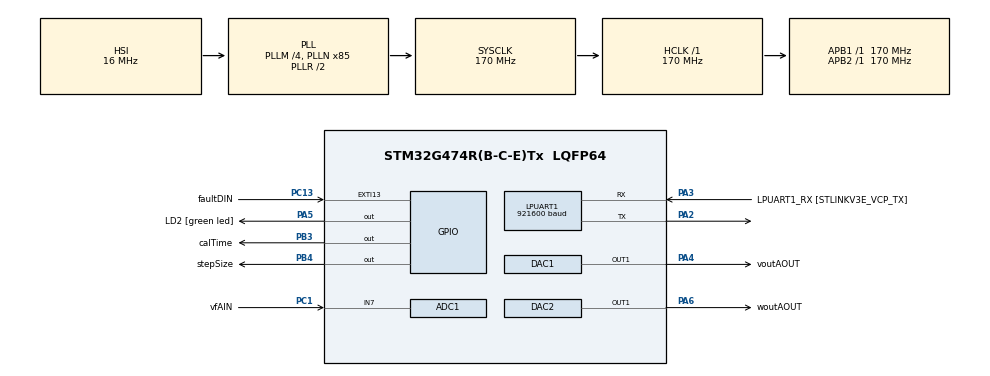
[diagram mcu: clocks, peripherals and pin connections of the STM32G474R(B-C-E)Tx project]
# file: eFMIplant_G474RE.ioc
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ADC1.Channel-1\#ChannelRegularConversion=ADC_CHANNEL_7
ADC1.NbrOfConversionFlag=1
ADC1.OffsetNumber-1\#ChannelRegularConversion=ADC_OFFSET_NONE
ADC1.Rank-1\#ChannelRegularConversion=1
ADC1.SamplingTime-1\#ChannelRegularConversion=ADC_SAMPLETIME_2CYCLES_5
ADC1.master=1
LPUART1.BaudRate=921600
Mcu.Family=STM32G4
Mcu.Name=STM32G474R(B-C-E)Tx
Mcu.Package=LQFP64
NVIC.EXTI15_10_IRQn=true\:0\:0\:false\:false\:true\:true\:true\:true
NVIC.PriorityGroup=NVIC_PRIORITYGROUP_4
NVIC.TIM1_UP_TIM16_IRQn=true\:0\:0\:false\:false\:true\:true\:true\:true
PA13.GPIO_Label=T_SWDIO
PA13.Mode=Serial_Wire
PA13.Signal=SYS_JTMS-SWDIO
PA14.GPIO_Label=T_SWCLK
PA14.Mode=Serial_Wire
PA14.Signal=SYS_JTCK-SWCLK
PA2.Mode=Asynchronous
PA2.Signal=LPUART1_TX
PA3.GPIO_Label=LPUART1_RX [STLINKV3E_VCP_TX]
PA3.Mode=Asynchronous
PA3.Signal=LPUART1_RX
PA4.GPIO_Label=voutAOUT
PA4.Signal=COMP_DAC11_group
PA5.GPIO_Label=LD2 [green led]
PA5.Signal=GPIO_Output
PA6.GPIO_Label=woutAOUT
PA6.Signal=COMP_DAC21_group
PB3.GPIO_Label=calTime
PB3.GPIO_Speed=GPIO_SPEED_FREQ_VERY_HIGH
PB3.Signal=GPIO_Output
PB4.GPIO_Label=stepSize
PB4.GPIO_Speed=GPIO_SPEED_FREQ_VERY_HIGH
PB4.Signal=GPIO_Output
PC1.GPIO_Label=vfAIN
PC1.Mode=IN7-Single-Ended
PC1.Signal=ADC1_IN7
PC13.GPIO_Label=faultDIN
PC13.Signal=GPXTI13
PC14-OSC32_IN.GPIO_Label=RCC_OSC32_IN
PC14-OSC32_IN.Mode=LSE-External-Oscillator
PC14-OSC32_IN.Signal=RCC_OSC32_IN
PC15-OSC32_OUT.GPIO_Label=RCC_OSC32_OUT
PC15-OSC32_OUT.Mode=LSE-External-Oscillator
PC15-OSC32_OUT.Signal=RCC_OSC32_OUT
PF0-OSC_IN.GPIO_Label=RCC_OSC_IN
PF0-OSC_IN.Mode=HSE-External-Oscillator
PF0-OSC_IN.Signal=RCC_OSC_IN
PF1-OSC_OUT.GPIO_Label=RCC_OSC_OUT
PF1-OSC_OUT.Mode=HSE-External-Oscillator
PF1-OSC_OUT.Signal=RCC_OSC_OUT
ProjectManager.HeapSize=0x200
ProjectManager.StackSize=0x400
ProjectManager.TargetToolchain=STM32CubeIDE
RCC.ADC12Freq_Value=170000000
RCC.ADC345Freq_Value=170000000
RCC.AHBFreq_Value=170000000
RCC.APB1Freq_Value=170000000
RCC.APB1TimFreq_Value=170000000
RCC.APB2Freq_Value=170000000
RCC.APB2TimFreq_Value=170000000
RCC.CortexFreq_Value=170000000
RCC.EXTERNAL_CLOCK_VALUE=12288000
RCC.HCLKFreq_Value=170000000
RCC.HSE_VALUE=24000000
RCC.HSI48_VALUE=48000000
RCC.HSI_VALUE=16000000
RCC.PLLM=RCC_PLLM_DIV4
RCC.PLLN=85
RCC.RTCClockSelection=RCC_RTCCLKSOURCE_LSE
RCC.SYSCLKFreq_VALUE=170000000
RCC.SYSCLKSource=RCC_SYSCLKSOURCE_PLLCLK
RCC.USBFreq_Value=170000000
RCC.VCOOutputFreq_Value=340000000
SH.COMP_DAC11_group.0=DAC1_OUT1,DAC_OUT1
SH.COMP_DAC21_group.0=DAC2_OUT1,DAC_OUT1
TIM1.AutoReloadPreload=TIM_AUTORELOAD_PRELOAD_ENABLE
TIM1.Channel-Output\ Compare1\ No\ Output=TIM_CHANNEL_1
TIM1.CounterMode=TIM_COUNTERMODE_DOWN
TIM1.PeriodNoDither=999
TIM1.Prescaler=33
VP_SYS_VS_DBSignals.Mode=DisableDeadBatterySignals
VP_TIM1_VS_ClockSourceINT.Mode=Internal
VP_TIM1_VS_no_output1.Mode=Output Compare1 No Output
board=NUCLEO-G474RE

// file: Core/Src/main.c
/* USER CODE BEGIN Header */
/**
  ******************************************************************************
  * @file           : main.c
  * @brief          : Main program body
  ******************************************************************************
  * @attention
  *
  * Copyright (c) 2025 STMicroelectronics.
  * All rights reserved.
  *
  * This software is licensed under terms that can be found in the LICENSE file
  * in the root directory of this software component.
  * If no LICENSE file comes with this software, it is provided AS-IS.
  *
  ******************************************************************************
  */
/* USER CODE END Header */
#include "main.h"

/* USER CODE BEGIN Includes */
#include "efmi_app.h"
#include <string.h>
#include <sys/unistd.h>     // for _write
#include <stdio.h>
/* USER CODE END Includes */

/* USER CODE BEGIN PM */
#define PRINT_INT 50
/* USER CODE END PM */

ADC_HandleTypeDef hadc1;

DAC_HandleTypeDef hdac1;
DAC_HandleTypeDef hdac2;

UART_HandleTypeDef hlpuart1;

TIM_HandleTypeDef htim1;

/* USER CODE BEGIN PV */
double vf0, w, v, p, q;
double vf_in  = 1.0;

int16_t print_interval = PRINT_INT;
/* USER CODE END PV */

void SystemClock_Config(void);
static void MX_GPIO_Init(void);
static void MX_TIM1_Init(void);
static void MX_LPUART1_UART_Init(void);
static void MX_DAC1_Init(void);
static void MX_DAC2_Init(void);
static void MX_ADC1_Init(void);
/* USER CODE BEGIN PFP */
static uint16_t ADC2_ReadOnce(void);
static float ADC_CodeToVolts(uint16_t code, float vdda);
void uart_print(const char *s);

/* USER CODE END PFP */

int main(void)
{

  /* MCU Configuration--------------------------------------------------------*/

  /* Reset of all peripherals, Initializes the Flash interface and the Systick. */
  HAL_Init();

  /* Configure the system clock */
  SystemClock_Config();

  /* Initialize all configured peripherals */
  MX_GPIO_Init();
  MX_TIM1_Init();
  MX_LPUART1_UART_Init();
  MX_DAC1_Init();
  MX_DAC2_Init();
  MX_ADC1_Init();
  /* USER CODE BEGIN 2 */
  HAL_DAC_Start(&hdac1, DAC_CHANNEL_1);
  HAL_DAC_Start(&hdac2, DAC_CHANNEL_1);
  HAL_TIM_Base_Start_IT(&htim1);
  __enable_irq();
  EFMI_App_Init();

  /* USER CODE END 2 */

  /* Infinite loop */
  while (1)
  {

  }
}

void SystemClock_Config(void)
{
  RCC_OscInitTypeDef RCC_OscInitStruct = {0};
  RCC_ClkInitTypeDef RCC_ClkInitStruct = {0};

  /** Configure the main internal regulator output voltage
  */
  HAL_PWREx_ControlVoltageScaling(PWR_REGULATOR_VOLTAGE_SCALE1_BOOST);

  /** Initializes the RCC Oscillators according to the specified parameters
  * in the RCC_OscInitTypeDef structure.
  */
  RCC_OscInitStruct.OscillatorType = RCC_OSCILLATORTYPE_HSI;
  RCC_OscInitStruct.HSIState = RCC_HSI_ON;
  RCC_OscInitStruct.HSICalibrationValue = RCC_HSICALIBRATION_DEFAULT;
  RCC_OscInitStruct.PLL.PLLState = RCC_PLL_ON;
  RCC_OscInitStruct.PLL.PLLSource = RCC_PLLSOURCE_HSI;
  RCC_OscInitStruct.PLL.PLLM = RCC_PLLM_DIV4;
  RCC_OscInitStruct.PLL.PLLN = 85;
  RCC_OscInitStruct.PLL.PLLP = RCC_PLLP_DIV2;
  RCC_OscInitStruct.PLL.PLLQ = RCC_PLLQ_DIV2;
  RCC_OscInitStruct.PLL.PLLR = RCC_PLLR_DIV2;
  if (HAL_RCC_OscConfig(&RCC_OscInitStruct) != HAL_OK)
  {
    Error_Handler();
  }

  /** Initializes the CPU, AHB and APB buses clocks
  */
  RCC_ClkInitStruct.ClockType = RCC_CLOCKTYPE_HCLK|RCC_CLOCKTYPE_SYSCLK
                              |RCC_CLOCKTYPE_PCLK1|RCC_CLOCKTYPE_PCLK2;
  RCC_ClkInitStruct.SYSCLKSource = RCC_SYSCLKSOURCE_PLLCLK;
  RCC_ClkInitStruct.AHBCLKDivider = RCC_SYSCLK_DIV1;
  RCC_ClkInitStruct.APB1CLKDivider = RCC_HCLK_DIV1;
  RCC_ClkInitStruct.APB2CLKDivider = RCC_HCLK_DIV1;

  if (HAL_RCC_ClockConfig(&RCC_ClkInitStruct, FLASH_LATENCY_4) != HAL_OK)
  {
    Error_Handler();
  }
}

static void MX_ADC1_Init(void)
{

  ADC_MultiModeTypeDef multimode = {0};
  ADC_ChannelConfTypeDef sConfig = {0};

  /** Common config
  */
  hadc1.Instance = ADC1;
  hadc1.Init.ClockPrescaler = ADC_CLOCK_SYNC_PCLK_DIV4;
  hadc1.Init.Resolution = ADC_RESOLUTION_12B;
  hadc1.Init.DataAlign = ADC_DATAALIGN_RIGHT;
  hadc1.Init.GainCompensation = 0;
  hadc1.Init.ScanConvMode = ADC_SCAN_DISABLE;
  hadc1.Init.EOCSelection = ADC_EOC_SINGLE_CONV;
  hadc1.Init.LowPowerAutoWait = DISABLE;
  hadc1.Init.ContinuousConvMode = DISABLE;
  hadc1.Init.NbrOfConversion = 1;
  hadc1.Init.DiscontinuousConvMode = DISABLE;
  hadc1.Init.ExternalTrigConv = ADC_SOFTWARE_START;
  hadc1.Init.ExternalTrigConvEdge = ADC_EXTERNALTRIGCONVEDGE_NONE;
  hadc1.Init.DMAContinuousRequests = DISABLE;
  hadc1.Init.Overrun = ADC_OVR_DATA_PRESERVED;
  hadc1.Init.OversamplingMode = DISABLE;
  if (HAL_ADC_Init(&hadc1) != HAL_OK)
  {
    Error_Handler();
  }

  /** Configure the ADC multi-mode
  */
  multimode.Mode = ADC_MODE_INDEPENDENT;
  if (HAL_ADCEx_MultiModeConfigChannel(&hadc1, &multimode) != HAL_OK)
  {
    Error_Handler();
  }

  /** Configure Regular Channel
  */
  sConfig.Channel = ADC_CHANNEL_7;
  sConfig.Rank = ADC_REGULAR_RANK_1;
  sConfig.SamplingTime = ADC_SAMPLETIME_2CYCLES_5;
  sConfig.SingleDiff = ADC_SINGLE_ENDED;
  sConfig.OffsetNumber = ADC_OFFSET_NONE;
  sConfig.Offset = 0;
  if (HAL_ADC_ConfigChannel(&hadc1, &sConfig) != HAL_OK)
  {
    Error_Handler();
  }

}

static void MX_DAC1_Init(void)
{

  DAC_ChannelConfTypeDef sConfig = {0};

  /** DAC Initialization
  */
  hdac1.Instance = DAC1;
  if (HAL_DAC_Init(&hdac1) != HAL_OK)
  {
    Error_Handler();
  }

  /** DAC channel OUT1 config
  */
  sConfig.DAC_HighFrequency = DAC_HIGH_FREQUENCY_INTERFACE_MODE_AUTOMATIC;
  sConfig.DAC_DMADoubleDataMode = DISABLE;
  sConfig.DAC_SignedFormat = DISABLE;
  sConfig.DAC_SampleAndHold = DAC_SAMPLEANDHOLD_DISABLE;
  sConfig.DAC_Trigger = DAC_TRIGGER_NONE;
  sConfig.DAC_Trigger2 = DAC_TRIGGER_NONE;
  sConfig.DAC_OutputBuffer = DAC_OUTPUTBUFFER_ENABLE;
  sConfig.DAC_ConnectOnChipPeripheral = DAC_CHIPCONNECT_EXTERNAL;
  sConfig.DAC_UserTrimming = DAC_TRIMMING_FACTORY;
  if (HAL_DAC_ConfigChannel(&hdac1, &sConfig, DAC_CHANNEL_1) != HAL_OK)
  {
    Error_Handler();
  }

}

static void MX_DAC2_Init(void)
{

  DAC_ChannelConfTypeDef sConfig = {0};

  /** DAC Initialization
  */
  hdac2.Instance = DAC2;
  if (HAL_DAC_Init(&hdac2) != HAL_OK)
  {
    Error_Handler();
  }

  /** DAC channel OUT1 config
  */
  sConfig.DAC_HighFrequency = DAC_HIGH_FREQUENCY_INTERFACE_MODE_AUTOMATIC;
  sConfig.DAC_DMADoubleDataMode = DISABLE;
  sConfig.DAC_SignedFormat = DISABLE;
  sConfig.DAC_SampleAndHold = DAC_SAMPLEANDHOLD_DISABLE;
  sConfig.DAC_Trigger = DAC_TRIGGER_NONE;
  sConfig.DAC_Trigger2 = DAC_TRIGGER_NONE;
  sConfig.DAC_OutputBuffer = DAC_OUTPUTBUFFER_ENABLE;
  sConfig.DAC_ConnectOnChipPeripheral = DAC_CHIPCONNECT_EXTERNAL;
  sConfig.DAC_UserTrimming = DAC_TRIMMING_FACTORY;
  if (HAL_DAC_ConfigChannel(&hdac2, &sConfig, DAC_CHANNEL_1) != HAL_OK)
  {
    Error_Handler();
  }

}

static void MX_LPUART1_UART_Init(void)
{

  hlpuart1.Instance = LPUART1;
  hlpuart1.Init.BaudRate = 921600;
  hlpuart1.Init.WordLength = UART_WORDLENGTH_8B;
  hlpuart1.Init.StopBits = UART_STOPBITS_1;
  hlpuart1.Init.Parity = UART_PARITY_NONE;
  hlpuart1.Init.Mode = UART_MODE_TX_RX;
  hlpuart1.Init.HwFlowCtl = UART_HWCONTROL_NONE;
  hlpuart1.Init.OneBitSampling = UART_ONE_BIT_SAMPLE_DISABLE;
  hlpuart1.Init.ClockPrescaler = UART_PRESCALER_DIV1;
  hlpuart1.AdvancedInit.AdvFeatureInit = UART_ADVFEATURE_NO_INIT;
  if (HAL_UART_Init(&hlpuart1) != HAL_OK)
  {
    Error_Handler();
  }
  if (HAL_UARTEx_SetTxFifoThreshold(&hlpuart1, UART_TXFIFO_THRESHOLD_1_8) != HAL_OK)
  {
    Error_Handler();
  }
  if (HAL_UARTEx_SetRxFifoThreshold(&hlpuart1, UART_RXFIFO_THRESHOLD_1_8) != HAL_OK)
  {
    Error_Handler();
  }
  if (HAL_UARTEx_DisableFifoMode(&hlpuart1) != HAL_OK)
  {
    Error_Handler();
  }

}

static void MX_TIM1_Init(void)
{

  TIM_ClockConfigTypeDef sClockSourceConfig = {0};
  TIM_MasterConfigTypeDef sMasterConfig = {0};
  TIM_OC_InitTypeDef sConfigOC = {0};
  TIM_BreakDeadTimeConfigTypeDef sBreakDeadTimeConfig = {0};

  htim1.Instance = TIM1;
  htim1.Init.Prescaler = 33;
  htim1.Init.CounterMode = TIM_COUNTERMODE_DOWN;
  htim1.Init.Period = 999;
  htim1.Init.ClockDivision = TIM_CLOCKDIVISION_DIV1;
  htim1.Init.RepetitionCounter = 0;
  htim1.Init.AutoReloadPreload = TIM_AUTORELOAD_PRELOAD_ENABLE;
  if (HAL_TIM_Base_Init(&htim1) != HAL_OK)
  {
    Error_Handler();
  }
  sClockSourceConfig.ClockSource = TIM_CLOCKSOURCE_INTERNAL;
  if (HAL_TIM_ConfigClockSource(&htim1, &sClockSourceConfig) != HAL_OK)
  {
    Error_Handler();
  }
  if (HAL_TIM_OC_Init(&htim1) != HAL_OK)
  {
    Error_Handler();
  }
  sMasterConfig.MasterOutputTrigger = TIM_TRGO_RESET;
  sMasterConfig.MasterOutputTrigger2 = TIM_TRGO2_RESET;
  sMasterConfig.MasterSlaveMode = TIM_MASTERSLAVEMODE_DISABLE;
  if (HAL_TIMEx_MasterConfigSynchronization(&htim1, &sMasterConfig) != HAL_OK)
  {
    Error_Handler();
  }
  sConfigOC.OCMode = TIM_OCMODE_TIMING;
  sConfigOC.Pulse = 0;
  sConfigOC.OCPolarity = TIM_OCPOLARITY_HIGH;
  sConfigOC.OCNPolarity = TIM_OCNPOLARITY_HIGH;
  sConfigOC.OCFastMode = TIM_OCFAST_DISABLE;
  sConfigOC.OCIdleState = TIM_OCIDLESTATE_RESET;
  sConfigOC.OCNIdleState = TIM_OCNIDLESTATE_RESET;
  if (HAL_TIM_OC_ConfigChannel(&htim1, &sConfigOC, TIM_CHANNEL_1) != HAL_OK)
  {
    Error_Handler();
  }
  sBreakDeadTimeConfig.OffStateRunMode = TIM_OSSR_DISABLE;
  sBreakDeadTimeConfig.OffStateIDLEMode = TIM_OSSI_DISABLE;
  sBreakDeadTimeConfig.LockLevel = TIM_LOCKLEVEL_OFF;
  sBreakDeadTimeConfig.DeadTime = 0;
  sBreakDeadTimeConfig.BreakState = TIM_BREAK_DISABLE;
  sBreakDeadTimeConfig.BreakPolarity = TIM_BREAKPOLARITY_HIGH;
  sBreakDeadTimeConfig.BreakFilter = 0;
  sBreakDeadTimeConfig.BreakAFMode = TIM_BREAK_AFMODE_INPUT;
  sBreakDeadTimeConfig.Break2State = TIM_BREAK2_DISABLE;
  sBreakDeadTimeConfig.Break2Polarity = TIM_BREAK2POLARITY_HIGH;
  sBreakDeadTimeConfig.Break2Filter = 0;
  sBreakDeadTimeConfig.Break2AFMode = TIM_BREAK_AFMODE_INPUT;
  sBreakDeadTimeConfig.AutomaticOutput = TIM_AUTOMATICOUTPUT_DISABLE;
  if (HAL_TIMEx_ConfigBreakDeadTime(&htim1, &sBreakDeadTimeConfig) != HAL_OK)
  {
    Error_Handler();
  }

}

static void MX_GPIO_Init(void)
{
  GPIO_InitTypeDef GPIO_InitStruct = {0};

  /* GPIO Ports Clock Enable */
  __HAL_RCC_GPIOC_CLK_ENABLE();
  __HAL_RCC_GPIOF_CLK_ENABLE();
  __HAL_RCC_GPIOA_CLK_ENABLE();
  __HAL_RCC_GPIOB_CLK_ENABLE();

  /*Configure GPIO pin Output Level */
  HAL_GPIO_WritePin(LD2_GPIO_Port, LD2_Pin, GPIO_PIN_RESET);

  /*Configure GPIO pin Output Level */
  HAL_GPIO_WritePin(GPIOB, calTime_Pin|stepSize_Pin, GPIO_PIN_RESET);

  /*Configure GPIO pin : faultDIN_Pin */
  GPIO_InitStruct.Pin = faultDIN_Pin;
  GPIO_InitStruct.Mode = GPIO_MODE_IT_RISING;
  GPIO_InitStruct.Pull = GPIO_NOPULL;
  HAL_GPIO_Init(faultDIN_GPIO_Port, &GPIO_InitStruct);

  /*Configure GPIO pin : LD2_Pin */
  GPIO_InitStruct.Pin = LD2_Pin;
  GPIO_InitStruct.Mode = GPIO_MODE_OUTPUT_PP;
  GPIO_InitStruct.Pull = GPIO_NOPULL;
  GPIO_InitStruct.Speed = GPIO_SPEED_FREQ_LOW;
  HAL_GPIO_Init(LD2_GPIO_Port, &GPIO_InitStruct);

  /*Configure GPIO pins : calTime_Pin stepSize_Pin */
  GPIO_InitStruct.Pin = calTime_Pin|stepSize_Pin;
  GPIO_InitStruct.Mode = GPIO_MODE_OUTPUT_PP;
  GPIO_InitStruct.Pull = GPIO_NOPULL;
  GPIO_InitStruct.Speed = GPIO_SPEED_FREQ_VERY_HIGH;
  HAL_GPIO_Init(GPIOB, &GPIO_InitStruct);

  /* EXTI interrupt init*/
  HAL_NVIC_SetPriority(EXTI15_10_IRQn, 0, 0);
  HAL_NVIC_EnableIRQ(EXTI15_10_IRQn);

}

/* USER CODE BEGIN 4 */
void uart_print(const char *s)
{
  HAL_UART_Transmit(&hlpuart1, (uint8_t*)s, (uint16_t)strlen(s), HAL_MAX_DELAY);
}

void HAL_TIM_PeriodElapsedCallback(TIM_HandleTypeDef *htim)
{
  if (htim->Instance == TIM1) {
    HAL_GPIO_TogglePin(GPIOB, stepSize_Pin);
    HAL_GPIO_WritePin(GPIOB, calTime_Pin,GPIO_PIN_SET);

    vf_in =  ADC_CodeToVolts(ADC2_ReadOnce(), 3.3); // the -1.5 removes the offset introduced on the PSS side so values > 0 are processed, ADC cannot read negative values

    EFMI_SetInputs(HAL_GPIO_ReadPin(faultDIN_GPIO_Port,faultDIN_Pin),vf_in);//vf_in
    //EFMI_SetInputs(HAL_GPIO_ReadPin(faultDIN_GPIO_Port,faultDIN_Pin),0.0);//setting vf_in to 0.0 for testing

    EFMI_App_Step();
    EFMI_GetOutputs(&vf0, &w, &v, &p, &q);

    HAL_DAC_SetValue(&hdac1, DAC_CHANNEL_1, DAC_ALIGN_12B_R, (uint32_t)(4095*v/3.3));
    HAL_DAC_SetValue(&hdac2, DAC_CHANNEL_1, DAC_ALIGN_12B_R, (uint32_t)(4095*(w)/3.3)); // 150.00*(w-1.0) +1.0

    if(print_interval<=0)
	{
		//printf("%.4f, %.4f\r\n", (double)v, (double)w);
		print_interval = PRINT_INT;
	}
    else print_interval--;

    HAL_GPIO_WritePin(GPIOB, calTime_Pin,GPIO_PIN_RESET);
  }
}

static uint16_t ADC2_ReadOnce(void)
{
  HAL_ADC_Start(&hadc1);                                        // start single conversion
  HAL_ADC_PollForConversion(&hadc1, 7);                        // wait (timeout 10 ms)
  uint16_t code = (uint16_t)HAL_ADC_GetValue(&hadc1);           // 0..4095 (12-bit)
  HAL_ADC_Stop(&hadc1);                                         // optional for one-shot
  return code;
}

static float ADC_CodeToVolts(uint16_t code, float vdda)
{
  return (vdda * (float)code) / 4095.0f;                        // V = code/4095 * VDDA
}

int _write(int file, char *ptr, int len)
{
  (void)file;
  HAL_UART_Transmit(&hlpuart1, (uint8_t*)ptr, len, HAL_MAX_DELAY);
  return len;
}
/* USER CODE END 4 */

void Error_Handler(void)
{
  __disable_irq();
  while (1)
  {
  }
}
